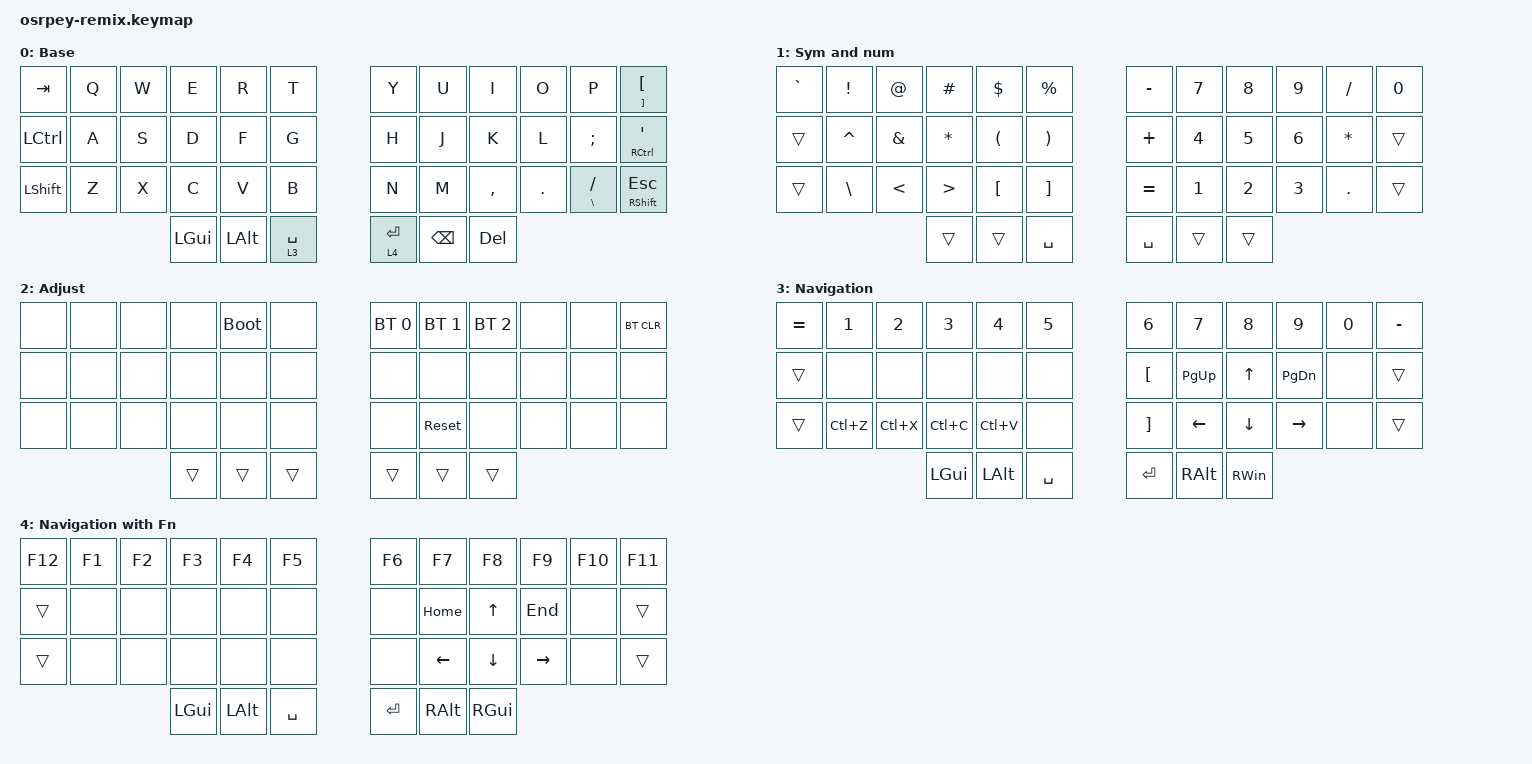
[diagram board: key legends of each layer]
#include <behaviors.dtsi>
#include <dt-bindings/zmk/bt.h>
#include <dt-bindings/zmk/keys.h>

&mt {
    flavor = "balanced";
    tapping-term-ms = <250>;
};

/ {
    combos {
        compatible = "zmk,combos";

        insert {
            bindings = <&kp INSERT>;
            key-positions = <40 41>;
        };

        caps_word {
            bindings = <&caps_word>;
            key-positions = <12 13>;
            layers = <0>;
        };

        go_to_adjust {
            bindings = <&mo 2>;
            key-positions = <36 38 37>;
        };
    };

    macros {
        select_line: select_line {
            compatible = "zmk,behavior-macro";
            #binding-cells = <0>;
            bindings = <&kp HOME &kp LS(END)>;
            label = "SELECT_LINE";
        };
    };

    keymap {
        compatible = "zmk,keymap";

        default_layer {
            display-name = "Base";
            bindings = <
&kp TAB         &kp Q  &kp W  &kp E         &kp R         &kp T        &kp Y        &kp U          &kp I       &kp O    &kp P                &mt RIGHT_BRACKET LEFT_BRACKET
&kp LCTRL       &kp A  &kp S  &kp D         &kp F         &kp G        &kp H        &kp J          &kp K       &kp L    &kp SEMI             &mt RCTRL SQT
&kp LEFT_SHIFT  &kp Z  &kp X  &kp C         &kp V         &kp B        &kp N        &kp M          &kp COMMA   &kp DOT  &mt BACKSLASH SLASH  &mt RIGHT_SHIFT ESCAPE
                              &kp LEFT_GUI  &kp LEFT_ALT  &lt 3 SPACE  &lt 4 ENTER  &kp BACKSPACE  &kp DELETE
            >;
        };

        sym_num_layer {
            bindings = <
&kp GRAVE  &kp EXCLAMATION  &kp AT_SIGN    &kp HASH          &kp DOLLAR            &kp PERCENT            &kp MINUS  &kp NUMBER_7  &kp NUMBER_8  &kp NUMBER_9  &kp SLASH     &kp NUMBER_0
&trans     &kp CARET        &kp AMPERSAND  &kp ASTERISK      &kp LEFT_PARENTHESIS  &kp RIGHT_PARENTHESIS  &kp PLUS   &kp NUMBER_4  &kp NUMBER_5  &kp NUMBER_6  &kp ASTERISK  &trans
&trans     &kp BSLH         &kp LESS_THAN  &kp GREATER_THAN  &kp LEFT_BRACKET      &kp RIGHT_BRACKET      &kp EQUAL  &kp NUMBER_1  &kp NUMBER_2  &kp NUMBER_3  &kp PERIOD    &trans
                                           &trans            &trans                &kp SPACE              &kp SPACE  &trans        &trans
            >;

            display-name = "Sym and num";
        };

        adjust_layer {
            display-name = "Adjust";
            bindings = <
&none  &none  &none  &none   &bootloader  &none   &bt BT_SEL 0  &bt BT_SEL 1  &bt BT_SEL 2  &none  &none  &bt BT_CLR
&none  &none  &none  &none   &none        &none   &none         &none         &none         &none  &none  &none
&none  &none  &none  &none   &none        &none   &none         &sys_reset    &none         &none  &none  &none
                     &trans  &trans       &trans  &trans        &trans        &trans
            >;
        };

        nav_layer {
            bindings = <
&kp EQUAL  &kp NUMBER_1  &kp NUMBER_2  &kp NUMBER_3  &kp NUMBER_4  &kp NUMBER_5  &kp NUMBER_6       &kp NUMBER_7    &kp NUMBER_8    &kp NUMBER_9     &kp NUMBER_0  &kp MINUS
&trans     &none         &none         &none         &none         &none         &kp LEFT_BRACKET   &kp PAGE_UP     &kp UP_ARROW    &kp PAGE_DOWN    &none         &trans
&trans     &kp LC(Z)     &kp LC(X)     &kp LC(C)     &kp LC(V)     &none         &kp RIGHT_BRACKET  &kp LEFT_ARROW  &kp DOWN_ARROW  &kp RIGHT_ARROW  &none         &trans
                                       &kp LEFT_GUI  &kp LEFT_ALT  &kp SPACE     &kp ENTER          &kp RIGHT_ALT   &kp RIGHT_WIN
            >;

            label = "Navigation";
        };

        fn_nav_layer {
            label = "Navigation with Fn";
            bindings = <
&kp F12  &kp F1  &kp F2  &kp F3        &kp F4        &kp F5     &kp F6     &kp F7          &kp F8          &kp F9           &kp F10  &kp F11
&trans   &none   &none   &none         &none         &none      &none      &kp HOME        &kp UP_ARROW    &kp END          &none    &trans
&trans   &none   &none   &none         &none         &none      &none      &kp LEFT_ARROW  &kp DOWN_ARROW  &kp RIGHT_ARROW  &none    &trans
                         &kp LEFT_GUI  &kp LEFT_ALT  &kp SPACE  &kp ENTER  &kp RIGHT_ALT   &kp RIGHT_GUI
            >;
        };
    };
};
